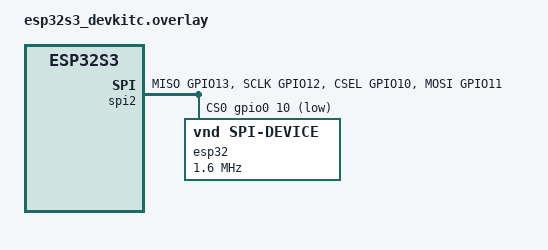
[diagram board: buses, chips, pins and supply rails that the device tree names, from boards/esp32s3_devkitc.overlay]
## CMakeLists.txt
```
#-------------------------------------------------------------------------------
# Zephyr Example Application
#
# Copyright (c) 2021 Nordic Semiconductor ASA
# SPDX-License-Identifier: Apache-2.0

cmake_minimum_required(VERSION 3.20.0)
find_package(Zephyr REQUIRED HINTS $ENV{ZEPHYR_BASE})
project(my_zephyr_app)

project(app LANGUAGES C)

target_sources(app PRIVATE src/main.c)
```

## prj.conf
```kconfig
# Copyright (c) 2021 Nordic Semiconductor ASA
# SPDX-License-Identifier: Apache-2.0
#
# This file contains selected Kconfig options for the application.
```

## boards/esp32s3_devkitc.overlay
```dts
// spi controller
&spi2 {
    // This right here expects CONFIG_ESP32_SPIM=y
	compatible = "espressif,esp32-spi";

    // already defined in zephyr/boards/espressif/esp32s3_devkitc/esp32s3_devkitc_procpu.dts
	// redundant but here for clarity
	status = "okay";
    pinctrl-0 = <&spim2_default>;
    pinctrl-names = "default";

	// custom settings; I have defined this myself.
    cs-gpios = <&gpio0 10 GPIO_ACTIVE_LOW>;

    // creating the spi device on the spi controller! 
    // note; in cs_gpios, I defined an array of 1. This is the cs_gpio of index 0.
    esp32: esp32@0 {
        // this right here expects CONFIG_SPI=y
        compatible = "vnd,spi-device";

        // the cs gpio at index 0 in cs-gpios
        reg = <0>;
        spi-max-frequency = <1600000>;

        // we will use this to get with DT_NODELABEL.
        label = "esp32";
    };
};

// already defined in zephyr/boards/espressif/esp32s3_devkitc/esp32s3_devkitc-pinctrl.dtsi
// redundant but here for clarity
&pinctrl {
	spim2_default: spim2_default {
		group1 {
			pinmux = 
                <SPIM2_MISO_GPIO13>,
				 <SPIM2_SCLK_GPIO12>,
				 <SPIM2_CSEL_GPIO10>;
		};

        // MOSI will be 0 on start.
        // defined in a different group because it has different settings than group 1 pins.
		group2 {
			pinmux = <SPIM2_MOSI_GPIO11>;
			output-low;
		};
	};
};
```

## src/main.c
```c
#include <zephyr/kernel.h>
#include <zephyr/sys/printk.h>
#include <zephyr/drivers/gpio.h>
#define SW0_NODE DT_ALIAS(sw0)
static const struct gpio_dt_spec my_button = GPIO_DT_SPEC_GET_OR(SW0_NODE, gpios, {0});

int main(void)
{
    gpio_pin_configure_dt(&my_button, GPIO_INPUT);

    int gpio_val = gpio_pin_get_dt(&my_button);
    // int prev = !gpio_val;
    while (1) 
    {
        gpio_val = gpio_pin_get_dt(&my_button);
        // if (gpio_val != prev) {
            printk("%d\n", gpio_val);
        //     prev = gpio_val;
        // }
    } 

    return 0;
}
```
